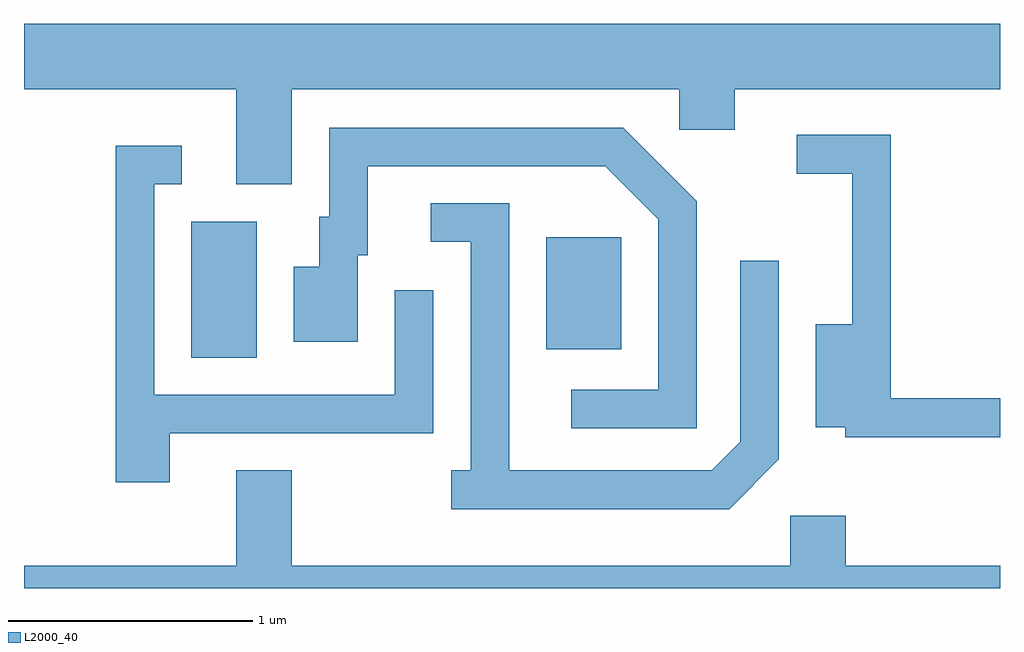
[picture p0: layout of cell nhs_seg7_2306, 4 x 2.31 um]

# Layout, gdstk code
import gdstk
lib = gdstk.Library(unit=1e-6, precision=1e-09)
def R(c, l, rs):  # rectangles x0, y0, x1, y1
    for r in rs: c.add(gdstk.rectangle(r[:2], r[2:], *l))
def P(c, l, *ps):  # polygons
    for p in ps: c.add(gdstk.Polygon(p, *l))
L2000_40 = (2000, 40)

nhs_seg7_2306 = lib.new_cell('nhs_seg7_2306')
R(nhs_seg7_2306, L2000_40, [(256.296,1733.196,256.564,1733.754), (257.751,1733.231,258.059,1733.689)])
P(nhs_seg7_2306, L2000_40, [(255.611,1734.296),(256.481,1734.296),(256.481,1733.906),(256.709,1733.906),(256.709,1734.296),(258.296,1734.296),(258.296,1734.131),(258.524,1734.131),(258.524,1734.296),(259.611,1734.296),(259.611,1734.564),(255.611,1734.564)],
  [(258.369,1733.837),(258.067,1734.139),(256.861,1734.139),(256.861,1733.774),(256.821,1733.774),(256.821,1733.569),(256.716,1733.569),(256.716,1733.261),(256.979,1733.261),(256.979,1733.616),(257.019,1733.616),(257.019,1733.981),(257.993,1733.981),(258.211,1733.764),(258.211,1733.064),(257.853,1733.064),(257.853,1732.906),(258.369,1732.906)],
  [(259.611,1733.029),(259.164,1733.029),(259.164,1734.109),(258.778,1734.109),(258.778,1733.951),(259.006,1733.951),(259.006,1733.334),(258.856,1733.334),(258.856,1732.911),(258.976,1732.911),(258.976,1732.871),(259.611,1732.871)],
  [(256.209,1732.886),(257.289,1732.886),(257.289,1733.473),(257.131,1733.473),(257.131,1733.044),(256.144,1733.044),(256.144,1733.906),(256.258,1733.906),(256.258,1734.064),(255.986,1734.064),(255.986,1732.686),(256.209,1732.686)],
  [(258.704,1732.779),(258.704,1733.593),(258.546,1733.593),(258.546,1732.852),(258.429,1732.734),(257.599,1732.734),(257.599,1733.829),(257.278,1733.829),(257.278,1733.671),(257.441,1733.671),(257.441,1732.734),(257.363,1732.734),(257.363,1732.576),(258.502,1732.576)],
  [(259.611,1732.344),(258.979,1732.344),(258.979,1732.549),(258.751,1732.549),(258.751,1732.344),(256.709,1732.344),(256.709,1732.734),(256.481,1732.734),(256.481,1732.344),(255.611,1732.344),(255.611,1732.252),(259.611,1732.252)])

lib.write_gds('nhs_seg7_2306.gds')
